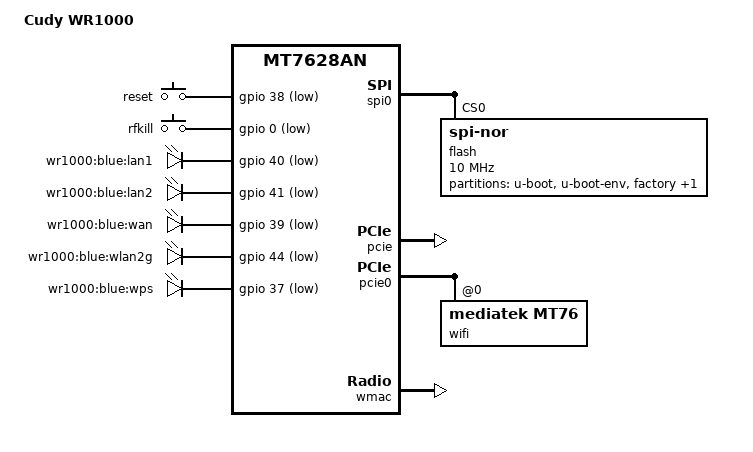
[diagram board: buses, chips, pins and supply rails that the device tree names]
// SPDX-License-Identifier: GPL-2.0-or-later OR MIT
/dts-v1/;

#include "mt7628an.dtsi"

#include <dt-bindings/gpio/gpio.h>
#include <dt-bindings/input/input.h>

/ {
	compatible = "cudy,wr1000", "mediatek,mt7628an-soc";
	model = "Cudy WR1000";

	aliases {
		led-boot = &led_wps;
		led-failsafe = &led_wps;
		led-upgrade = &led_wps;
		label-mac-device = &wmac;
	};

	keys {
		compatible = "gpio-keys";

		reset {
			label = "reset";
			gpios = <&gpio 38 GPIO_ACTIVE_LOW>;
			linux,code = <KEY_RESTART>;
		};

		wps {
			label = "rfkill";
			gpios = <&gpio 0 GPIO_ACTIVE_LOW>;
			linux,code = <KEY_WPS_BUTTON>;
		};
	};

	leds {
		compatible = "gpio-leds";

		lan1 {
			label = "wr1000:blue:lan1";
			gpios = <&gpio 40 GPIO_ACTIVE_LOW>;
		};

		lan2 {
			label = "wr1000:blue:lan2";
			gpios = <&gpio 41 GPIO_ACTIVE_LOW>;
		};

		wan {
			label = "wr1000:blue:wan";
			gpios = <&gpio 39 GPIO_ACTIVE_LOW>;
		};

		wlan2g {
			label = "wr1000:blue:wlan2g";
			gpios = <&gpio 44 GPIO_ACTIVE_LOW>;
			linux,default-trigger = "phy0tpt";
		};

		led_wps: wps {
			label = "wr1000:blue:wps";
			gpios = <&gpio 37 GPIO_ACTIVE_LOW>;
		};
	};
};

&spi0 {
	status = "okay";

	flash@0 {
		compatible = "jedec,spi-nor";
		reg = <0>;
		spi-max-frequency = <10000000>;

		partitions {
			compatible = "fixed-partitions";
			#address-cells = <1>;
			#size-cells = <1>;

			partition@0 {
				label = "u-boot";
				reg = <0x0 0x30000>;
				read-only;
			};

			partition@30000 {
				label = "u-boot-env";
				reg = <0x30000 0x10000>;
				read-only;
			};

			factory: partition@40000 {
				label = "factory";
				reg = <0x40000 0x10000>;
				read-only;
			};

			partition@50000 {
				compatible = "denx,uimage";
				label = "firmware";
				reg = <0x50000 0x7b0000>;
			};
		};
	};
};

&state_default {
	gpio {
		groups = "i2s", "refclk", "wdt", "p4led_an",
				"p3led_an", "p2led_an", "wled_an";
		function = "gpio";
	};
};

&pcie {
	status = "okay";
};

&pcie0 {
	wifi@0,0 {
		compatible = "mediatek,mt76";
		reg = <0x0000 0 0 0 0>;
		mediatek,mtd-eeprom = <&factory 0x8000>;
		ieee80211-freq-limit = <5000000 6000000>;

		led {
			led-sources = <2>;
			led-active-low;
		};
	};
};

&wmac {
	status = "okay";
};

&ethernet {
	mtd-mac-address = <&factory 0x28>;
};

&esw {
	mediatek,portmap = <0x2f>;
};
